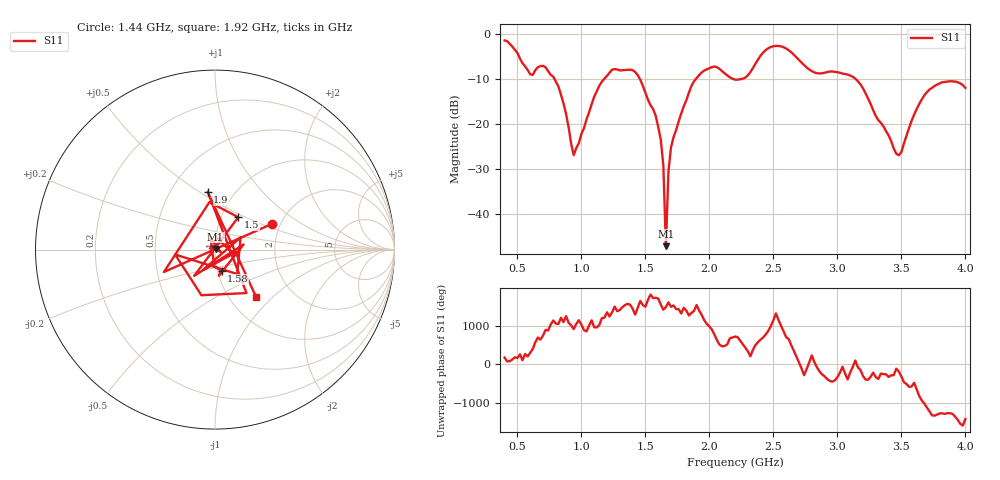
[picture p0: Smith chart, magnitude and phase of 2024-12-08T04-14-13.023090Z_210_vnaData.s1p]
!Created with skrf (http://scikit-rf.org).
# Hz S RI R 50.0
!freq ReS11 ImS11
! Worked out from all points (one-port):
!   181 points, 400 MHz to 4 GHz, reference 50 ohm
!   lowest |S11| = -47.2 dB at 1.66 GHz (marker M1), VSWR 1.01, Z = 50.3 + j0.3 ohm
!   |S11| at or under -10 dB: 789.9 MHz to 1.177 GHz (387.1 MHz wide, 39.4 % of centre); 1.457 GHz to 1.894 GHz (436.5 MHz wide, 26.1 % of centre); 3.144 GHz to end of sweep (the widest 3 of 4)
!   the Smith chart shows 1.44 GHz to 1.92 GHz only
!   S11 on the Smith chart (normalised r, x): 1.44 GHz: 1.81, +0.60; 1.5 GHz: 1.20, +0.46; 1.58 GHz: 1.04, -0.25; 1.9 GHz: 0.75, +0.54; 1.92 GHz: 1.32, -0.80
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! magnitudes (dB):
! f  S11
! 400 MHz  -1.4
! 600 MHz  -8.9
! 720 MHz  -7.4
! 860 MHz  -15.4
! 940 MHz  -26.9
! 1.14 GHz  -11.5
! 1.3 GHz  -8.1
! 1.44 GHz  -9.1
! 1.5 GHz  -13.1
! 1.58 GHz  -18.1
! 1.62 GHz  -23.4
! 1.64 GHz  -29.2
! 1.66 GHz  -47.2
! 1.68 GHz  -30.6
! 1.7 GHz  -25.2
! 1.76 GHz  -19.4
! 1.9 GHz  -9.8
! 1.92 GHz  -9.1
! 2.04 GHz  -7.2
! 2.2 GHz  -10.1
! 2.48 GHz  -2.9
! 2.66 GHz  -4.6
! 2.82 GHz  -8.5
! 3.1 GHz  -9.2
! 3.46 GHz  -26.6
! 3.56 GHz  -20.9
! 3.72 GHz  -12.3
! 4 GHz  -12.0
